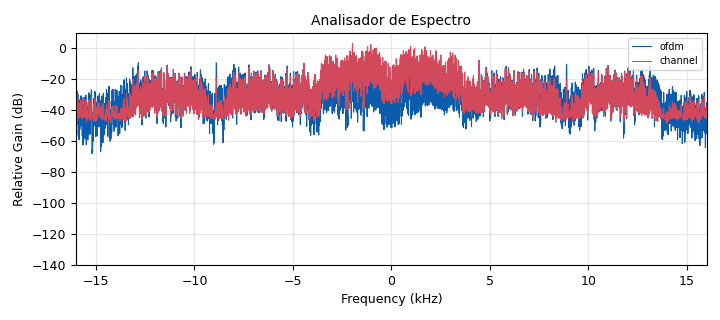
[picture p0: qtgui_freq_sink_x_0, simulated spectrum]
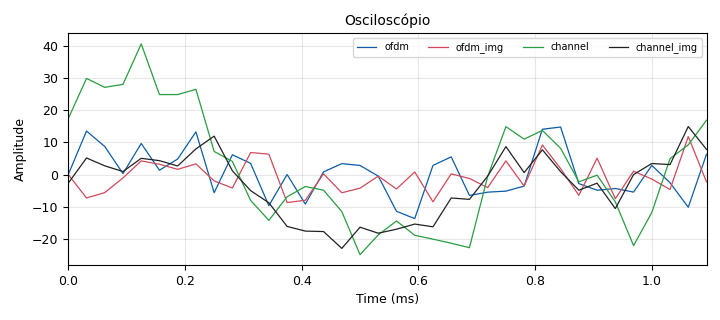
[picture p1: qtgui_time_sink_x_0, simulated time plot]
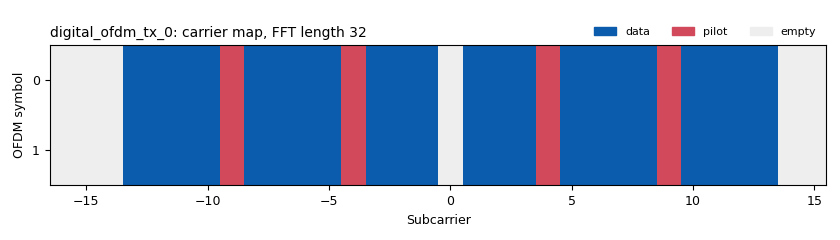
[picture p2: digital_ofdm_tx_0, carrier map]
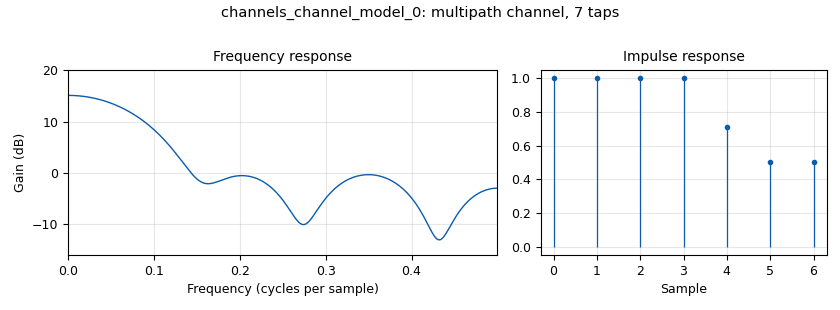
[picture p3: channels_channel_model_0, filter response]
options:
  parameters:
    author: pedro
    generate_options: qt_gui
    id: m180108140_Exp09_AR02
    output_language: python
    title: AR02
  states: {}

blocks:
- name: CP_len
  id: variable
  parameters:
    value: '4'
  states: {}
- name: fft_len
  id: variable
  parameters:
    value: '32'
  states: {}
- name: len_tag_key
  id: variable
  parameters:
    value: packet_len
  states: {}
- name: packet_len
  id: variable
  parameters:
    value: '100'
  states: {}
- name: samp_rate
  id: variable
  parameters:
    value: '32000'
  states: {}
- name: analog_random_source_x_0
  id: analog_random_source_x
  parameters:
    max: '256'
    min: '0'
    num_samps: '100'
    repeat: 'True'
    type: byte
  states: {}
- name: blocks_char_to_float_0
  id: blocks_char_to_float
  parameters:
    scale: '1'
  states: {}
- name: blocks_stream_to_tagged_stream_0
  id: blocks_stream_to_tagged_stream
  parameters:
    len_tag_key: packet_len
    packet_len: packet_len
    type: byte
  states: {}
- name: blocks_throttle_0
  id: blocks_throttle
  parameters:
    samples_per_second: samp_rate
    type: byte
  states: {}
- name: blocks_unpack_k_bits_bb_0
  id: blocks_unpack_k_bits_bb
  parameters:
    k: '8'
  states: {}
- name: channels_channel_model_0
  id: channels_channel_model
  parameters:
    epsilon: '1.0'
    freq_offset: '0.0'
    noise_voltage: '1'
    seed: '0'
    taps: '[1, 1, 1, 1, 0.71, 0.5, 0.5]'
  states: {}
- name: digital_ofdm_rx_0
  id: digital_ofdm_rx
  parameters:
    cp_len: CP_len
    fft_len: fft_len
    header_mod: '"BPSK"'
    occupied_carriers: |-
      (list(range(-13,-9))+list(range(-8,-4))+list(range(-
      3,0))+list(range(1,4))+list(range(5,9))+list(range(10,
      14)),)
    packet_len_key: '"length"'
    payload_mod: '"QPSK"'
    pilot_carriers: ((-9, -4, 4, 9,),)
    pilot_symbols: ((-1, 1, -1, 1,),)
    sync_word1: ''
    sync_word2: ''
  states: {}
- name: digital_ofdm_tx_0
  id: digital_ofdm_tx
  parameters:
    cp_len: CP_len
    fft_len: fft_len
    header_mod: '"BPSK"'
    occupied_carriers: |-
      (list(range(-13,-9))+list(range(-8,-4))+list(range(-
      3,0))+list(range(1,4))+list(range(5,9))+list(range(10,
      14)),)
    packet_len_key: packet_len
    payload_mod: '"QPSK"'
    pilot_carriers: ((-9, -4, 4, 9,),)
    pilot_symbols: ((-1, 1, -1, 1,),)
    rolloff: '0'
    sync_word1: ''
    sync_word2: ''
  states: {}
- name: qtgui_freq_sink_x_0
  id: qtgui_freq_sink_x
  parameters:
    alpha2: '0.7'
    average: '0.05'
    bw: samp_rate
    ctrlpanel: 'True'
    fc: '0'
    fftsize: '4096'
    grid: 'True'
    label1: ofdm
    label2: channel
    name: Analisador de Espectro
    nconnections: '2'
    type: complex
    wintype: firdes.WIN_BLACKMAN_hARRIS
  states: {}
- name: qtgui_time_sink_x_0
  id: qtgui_time_sink_x
  parameters:
    autoscale: 'True'
    ctrlpanel: 'True'
    grid: 'True'
    label1: ofdm
    label2: ofdm_img
    label3: channel
    label4: channel_img
    name: Osciloscópio
    nconnections: '2'
    size: '36'
    srate: samp_rate
    type: complex
  states: {}
- name: qtgui_time_sink_x_1
  id: qtgui_time_sink_x
  parameters:
    autoscale: 'True'
    ctrlpanel: 'True'
    grid: 'True'
    label1: bits
    name: Osciloscópio
    size: '512'
    srate: samp_rate
    type: float
  states: {}
- name: virtual_sink_0
  id: virtual_sink
  parameters:
    stream_id: ofdm
  states: {}
- name: virtual_source_0
  id: virtual_source
  parameters:
    stream_id: ofdm
  states: {}

connections:
- [analog_random_source_x_0, '0', blocks_throttle_0, '0']
- [blocks_char_to_float_0, '0', qtgui_time_sink_x_1, '0']
- [blocks_stream_to_tagged_stream_0, '0', digital_ofdm_tx_0, '0']
- [blocks_throttle_0, '0', blocks_stream_to_tagged_stream_0, '0']
- [blocks_unpack_k_bits_bb_0, '0', blocks_char_to_float_0, '0']
- [channels_channel_model_0, '0', digital_ofdm_rx_0, '0']
- [channels_channel_model_0, '0', qtgui_freq_sink_x_0, '1']
- [channels_channel_model_0, '0', qtgui_time_sink_x_0, '1']
- [digital_ofdm_rx_0, '0', blocks_unpack_k_bits_bb_0, '0']
- [digital_ofdm_tx_0, '0', qtgui_freq_sink_x_0, '0']
- [digital_ofdm_tx_0, '0', qtgui_time_sink_x_0, '0']
- [digital_ofdm_tx_0, '0', virtual_sink_0, '0']
- [virtual_source_0, '0', channels_channel_model_0, '0']

metadata:
  file_format: 1
